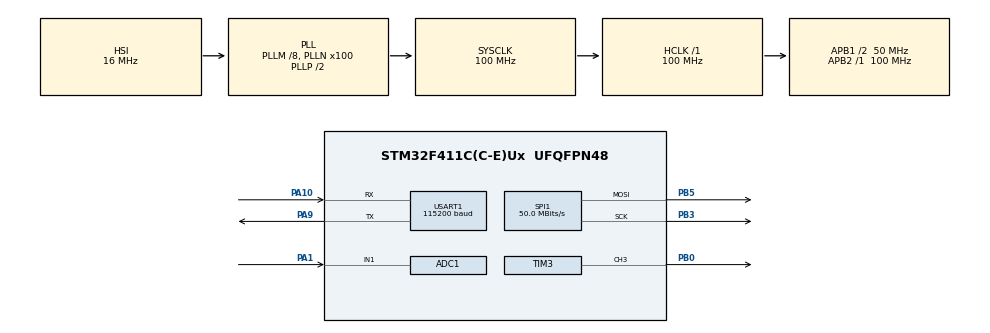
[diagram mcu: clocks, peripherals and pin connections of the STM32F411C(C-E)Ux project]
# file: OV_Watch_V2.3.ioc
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ADC1.Channel-0\#ChannelRegularConversion=ADC_CHANNEL_1
ADC1.NbrOfConversionFlag=1
ADC1.Rank-0\#ChannelRegularConversion=1
ADC1.SamplingTime-0\#ChannelRegularConversion=ADC_SAMPLETIME_3CYCLES
ADC1.master=1
Dma.Request0=SPI1_TX
Dma.Request1=USART1_RX
Dma.Request2=USART1_TX
Dma.SPI1_TX.0.Direction=DMA_MEMORY_TO_PERIPH
Dma.SPI1_TX.0.FIFOMode=DMA_FIFOMODE_DISABLE
Dma.SPI1_TX.0.Instance=DMA2_Stream2
Dma.SPI1_TX.0.MemDataAlignment=DMA_MDATAALIGN_BYTE
Dma.SPI1_TX.0.MemInc=DMA_MINC_ENABLE
Dma.SPI1_TX.0.Mode=DMA_NORMAL
Dma.SPI1_TX.0.PeriphDataAlignment=DMA_PDATAALIGN_BYTE
Dma.SPI1_TX.0.PeriphInc=DMA_PINC_DISABLE
Dma.SPI1_TX.0.Priority=DMA_PRIORITY_LOW
Dma.USART1_RX.1.Direction=DMA_PERIPH_TO_MEMORY
Dma.USART1_RX.1.FIFOMode=DMA_FIFOMODE_DISABLE
Dma.USART1_RX.1.Instance=DMA2_Stream5
Dma.USART1_RX.1.MemDataAlignment=DMA_MDATAALIGN_BYTE
Dma.USART1_RX.1.MemInc=DMA_MINC_ENABLE
Dma.USART1_RX.1.Mode=DMA_NORMAL
Dma.USART1_RX.1.PeriphDataAlignment=DMA_PDATAALIGN_BYTE
Dma.USART1_RX.1.PeriphInc=DMA_PINC_DISABLE
Dma.USART1_RX.1.Priority=DMA_PRIORITY_LOW
Dma.USART1_TX.2.Direction=DMA_MEMORY_TO_PERIPH
Dma.USART1_TX.2.FIFOMode=DMA_FIFOMODE_DISABLE
Dma.USART1_TX.2.Instance=DMA2_Stream7
Dma.USART1_TX.2.MemDataAlignment=DMA_MDATAALIGN_BYTE
Dma.USART1_TX.2.MemInc=DMA_MINC_ENABLE
Dma.USART1_TX.2.Mode=DMA_NORMAL
Dma.USART1_TX.2.PeriphDataAlignment=DMA_PDATAALIGN_BYTE
Dma.USART1_TX.2.PeriphInc=DMA_PINC_DISABLE
Dma.USART1_TX.2.Priority=DMA_PRIORITY_LOW
FREERTOS.Tasks01=defaultTask,24,128,StartDefaultTask,Default,NULL,Dynamic,NULL,NULL
Mcu.Family=STM32F4
Mcu.Name=STM32F411C(C-E)Ux
Mcu.Package=UFQFPN48
NVIC.DMA2_Stream2_IRQn=true\:5\:0\:false\:false\:true\:true\:false\:true\:true
NVIC.DMA2_Stream5_IRQn=true\:5\:0\:false\:false\:true\:true\:false\:true\:true
NVIC.DMA2_Stream7_IRQn=true\:5\:0\:false\:false\:true\:true\:false\:true\:true
NVIC.PriorityGroup=NVIC_PRIORITYGROUP_4
NVIC.TIM1_UP_TIM10_IRQn=true\:15\:0\:false\:false\:true\:false\:false\:true\:true
NVIC.TimeBase=TIM1_UP_TIM10_IRQn
NVIC.TimeBaseIP=TIM1
NVIC.USART1_IRQn=true\:5\:0\:false\:false\:true\:true\:true\:true\:true
PA1.Signal=ADCx_IN1
PA10.Mode=Asynchronous
PA10.Signal=USART1_RX
PA13.Mode=Serial_Wire
PA13.Signal=SYS_JTMS-SWDIO
PA14.Mode=Serial_Wire
PA14.Signal=SYS_JTCK-SWCLK
PA9.Mode=Asynchronous
PA9.Signal=USART1_TX
PB0.Signal=S_TIM3_CH3
PB3.Mode=TX_Only_Simplex_Unidirect_Master
PB3.Signal=SPI1_SCK
PB5.Mode=TX_Only_Simplex_Unidirect_Master
PB5.Signal=SPI1_MOSI
PC14-OSC32_IN.Mode=LSE-External-Oscillator
PC14-OSC32_IN.Signal=RCC_OSC32_IN
PC15-OSC32_OUT.Mode=LSE-External-Oscillator
PC15-OSC32_OUT.Signal=RCC_OSC32_OUT
ProjectManager.HeapSize=0x200
ProjectManager.StackSize=0x400
ProjectManager.TargetToolchain=MDK-ARM V5.32
RCC.48MHZClocksFreq_Value=50000000
RCC.AHBFreq_Value=100000000
RCC.APB1CLKDivider=RCC_HCLK_DIV2
RCC.APB1Freq_Value=50000000
RCC.APB1TimFreq_Value=100000000
RCC.APB2Freq_Value=100000000
RCC.APB2TimFreq_Value=100000000
RCC.CortexFreq_Value=100000000
RCC.HCLKFreq_Value=100000000
RCC.HSE_VALUE=25000000
RCC.HSI_VALUE=16000000
RCC.PLLM=8
RCC.PLLN=100
RCC.RCC_RTC_Clock_Source=RCC_RTCCLKSOURCE_LSE
RCC.RCC_RTC_Clock_SourceVirtual=RCC_RTCCLKSOURCE_LSE
RCC.SYSCLKFreq_VALUE=100000000
RCC.SYSCLKSource=RCC_SYSCLKSOURCE_PLLCLK
RCC.VCOOutputFreq_Value=200000000
RTC.Date=21
RTC.Hours=11
RTC.Minutes=59
RTC.Month=RTC_MONTH_MAY
RTC.Seconds=55
RTC.WeekDay=RTC_WEEKDAY_SUNDAY
RTC.Year=23
SH.ADCx_IN1.0=ADC1_IN1,IN1
SH.S_TIM3_CH3.0=TIM3_CH3,PWM Generation3 CH3
SPI1.CLKPhase=SPI_PHASE_2EDGE
SPI1.CLKPolarity=SPI_POLARITY_HIGH
SPI1.CalculateBaudRate=50.0 MBits/s
SPI1.Direction=SPI_DIRECTION_2LINES
SPI1.Mode=SPI_MODE_MASTER
SPI1.VirtualType=VM_MASTER
TIM3.Channel-PWM\ Generation3\ CH3=TIM_CHANNEL_3
TIM3.Period=300
TIM3.Prescaler=99
USART1.BaudRate=115200
USART1.VirtualMode=VM_ASYNC
VP_FREERTOS_VS_CMSIS_V2.Mode=CMSIS_V2
VP_RTC_VS_RTC_Activate.Mode=RTC_Enabled
VP_RTC_VS_RTC_Calendar.Mode=RTC_Calendar
VP_SYS_VS_tim1.Mode=TIM1
board=custom

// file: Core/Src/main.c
/* USER CODE BEGIN Header */
/**
  ******************************************************************************
  * @file           : main.c
  * @brief          : Main program body
  ******************************************************************************
  * @attention
  *
  * Copyright (c) 2023 STMicroelectronics.
  * All rights reserved.
  *
  * This software is licensed under terms that can be found in the LICENSE file
  * in the root directory of this software component.
  * If no LICENSE file comes with this software, it is provided AS-IS.
  *
  ******************************************************************************
  */
/* USER CODE END Header */
#include "main.h"
#include "cmsis_os.h"
#include "adc.h"
#include "dma.h"
#include "rtc.h"
#include "spi.h"
#include "tim.h"
#include "usart.h"
#include "gpio.h"

/* USER CODE BEGIN Includes */
#include "stm32f4xx_it.h"
#include "delay.h"
#include "lcd.h"
#include "lcd_init.h"
#include "CST816.h"
#include "SPL06_001.h"
#include "LSM303.h"
#include "mpu6050.h"
#include "AHT21.h"
#include "em70x8.h"
#include "BL24C02.h"
#include "power.h"
#include "key.h"
#include "KT6328.h"
//gui
#include "lvgl.h"
#include "lv_port_disp.h"
#include "lv_port_indev.h"
#include "ui.h"

/* USER CODE END Includes */

/* USER CODE BEGIN PV */
uint8_t Sensor_LSM303_Erro=1;
uint8_t Sensor_AHT21_Erro=1;
uint8_t Sensor_SPL_Erro=1;
uint8_t Sensor_EM_Erro=1;
uint8_t Sensor_MPU_Erro=1;
/* USER CODE END PV */

void SystemClock_Config(void);
void MX_FREERTOS_Init(void);

int main(void)
{

  /* MCU Configuration--------------------------------------------------------*/

  /* Reset of all peripherals, Initializes the Flash interface and the Systick. */
  HAL_Init();

  /* Configure the system clock */
  SystemClock_Config();

  /* Initialize all configured peripherals */
  MX_GPIO_Init();
  MX_DMA_Init();
  MX_ADC1_Init();
  MX_RTC_Init();
  MX_SPI1_Init();
  MX_TIM3_Init();
  MX_USART1_UART_Init();
  /* USER CODE BEGIN 2 */

	//usart start
	HAL_UART_Receive_DMA(&huart1,(uint8_t*)HardInt_receive_str,35);
	__HAL_UART_ENABLE_IT(&huart1,UART_IT_IDLE);
	//PWM Start
	HAL_TIM_PWM_Start(&htim3,TIM_CHANNEL_3);

	//sys delay
	delay_init();
	//wait
	delay_ms(3000);

	//power
	Power_Init();

	//key
	Key_Port_Init();

	//sensor
	Sensor_AHT21_Erro  = AHT_Init();
	Sensor_LSM303_Erro = LSM303DLH_Init();
	LSM303DLH_Sleep();
	Sensor_SPL_Erro = SPL_init();
	Sensor_MPU_Erro = MPU_Init();
	Sensor_EM_Erro = EM7028_hrs_init();
	EM7028_hrs_DisEnable();

	//BLE
	KT6328_GPIO_Init();
	KT6328_Enable();

	//touch
	CST816_GPIO_Init();
	CST816_RESET();

	//lcd
	LCD_Init();
	LCD_Fill(0,0,LCD_W,LCD_H,BLACK);
	delay_ms(10);
	LCD_Set_Light(50);
	LCD_ShowString(72,LCD_H/2,(uint8_t*)"Welcome!",WHITE,BLACK,24,0);//12*6,16*8,24*12,32*16
	LCD_ShowString(42,LCD_H/2+48,(uint8_t*)"OV-Watch V2.3",WHITE,BLACK,24,0);
	delay_ms(1000);
	LCD_Fill(0,LCD_H/2-24,LCD_W,LCD_H/2+49,BLACK);

	//LVGL init
	lv_init();
	lv_port_disp_init();
	lv_port_indev_init();
	ui_init();

  /* USER CODE END 2 */

  /* Init scheduler */
  osKernelInitialize();  /* Call init function for freertos objects (in freertos.c) */
  MX_FREERTOS_Init();

  /* Start scheduler */
  osKernelStart();

  /* We should never get here as control is now taken by the scheduler */
  /* Infinite loop */
  while (1)
  {

  }
}

void SystemClock_Config(void)
{
  RCC_OscInitTypeDef RCC_OscInitStruct = {0};
  RCC_ClkInitTypeDef RCC_ClkInitStruct = {0};

  /** Configure the main internal regulator output voltage
  */
  __HAL_RCC_PWR_CLK_ENABLE();
  __HAL_PWR_VOLTAGESCALING_CONFIG(PWR_REGULATOR_VOLTAGE_SCALE1);

  /** Initializes the RCC Oscillators according to the specified parameters
  * in the RCC_OscInitTypeDef structure.
  */
  RCC_OscInitStruct.OscillatorType = RCC_OSCILLATORTYPE_HSI|RCC_OSCILLATORTYPE_LSE;
  RCC_OscInitStruct.LSEState = RCC_LSE_ON;
  RCC_OscInitStruct.HSIState = RCC_HSI_ON;
  RCC_OscInitStruct.HSICalibrationValue = RCC_HSICALIBRATION_DEFAULT;
  RCC_OscInitStruct.PLL.PLLState = RCC_PLL_ON;
  RCC_OscInitStruct.PLL.PLLSource = RCC_PLLSOURCE_HSI;
  RCC_OscInitStruct.PLL.PLLM = 8;
  RCC_OscInitStruct.PLL.PLLN = 100;
  RCC_OscInitStruct.PLL.PLLP = RCC_PLLP_DIV2;
  RCC_OscInitStruct.PLL.PLLQ = 4;
  if (HAL_RCC_OscConfig(&RCC_OscInitStruct) != HAL_OK)
  {
    Error_Handler();
  }

  /** Initializes the CPU, AHB and APB buses clocks
  */
  RCC_ClkInitStruct.ClockType = RCC_CLOCKTYPE_HCLK|RCC_CLOCKTYPE_SYSCLK
                              |RCC_CLOCKTYPE_PCLK1|RCC_CLOCKTYPE_PCLK2;
  RCC_ClkInitStruct.SYSCLKSource = RCC_SYSCLKSOURCE_PLLCLK;
  RCC_ClkInitStruct.AHBCLKDivider = RCC_SYSCLK_DIV1;
  RCC_ClkInitStruct.APB1CLKDivider = RCC_HCLK_DIV2;
  RCC_ClkInitStruct.APB2CLKDivider = RCC_HCLK_DIV1;

  if (HAL_RCC_ClockConfig(&RCC_ClkInitStruct, FLASH_LATENCY_3) != HAL_OK)
  {
    Error_Handler();
  }
}

void HAL_TIM_PeriodElapsedCallback(TIM_HandleTypeDef *htim)
{
  if (htim->Instance == TIM1) {
    HAL_IncTick();
  }
}

void Error_Handler(void)
{
  __disable_irq();
  while (1)
  {
  }
}

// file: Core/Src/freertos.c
/* USER CODE BEGIN Header */
/**
  ******************************************************************************
  * File Name          : freertos.c
  * Description        : Code for freertos applications
  ******************************************************************************
  * @attention
  *
  * Copyright (c) 2023 STMicroelectronics.
  * All rights reserved.
  *
  * This software is licensed under terms that can be found in the LICENSE file
  * in the root directory of this software component.
  * If no LICENSE file comes with this software, it is provided AS-IS.
  *
  ******************************************************************************
  */
/* USER CODE END Header */

#include "FreeRTOS.h"
#include "task.h"
#include "main.h"
#include "cmsis_os.h"

/* USER CODE BEGIN Includes */
#include "user_TasksInit.h"
/* USER CODE END Includes */

/* Definitions for defaultTask */
osThreadId_t defaultTaskHandle;
const osThreadAttr_t defaultTask_attributes = {
  .name = "defaultTask",
  .stack_size = 128 * 4,
  .priority = (osPriority_t) osPriorityNormal,
};

void StartDefaultTask(void *argument);

void MX_FREERTOS_Init(void); /* (MISRA C 2004 rule 8.1) */

void MX_FREERTOS_Init(void) {
  /* USER CODE BEGIN Init */
	User_Tasks_Init();
  /* USER CODE END Init */

  /* Create the thread(s) */
  /* creation of defaultTask */
  defaultTaskHandle = osThreadNew(StartDefaultTask, NULL, &defaultTask_attributes);

}

void StartDefaultTask(void *argument)
{
  for(;;)
  {
    osDelay(1);
  }
}
